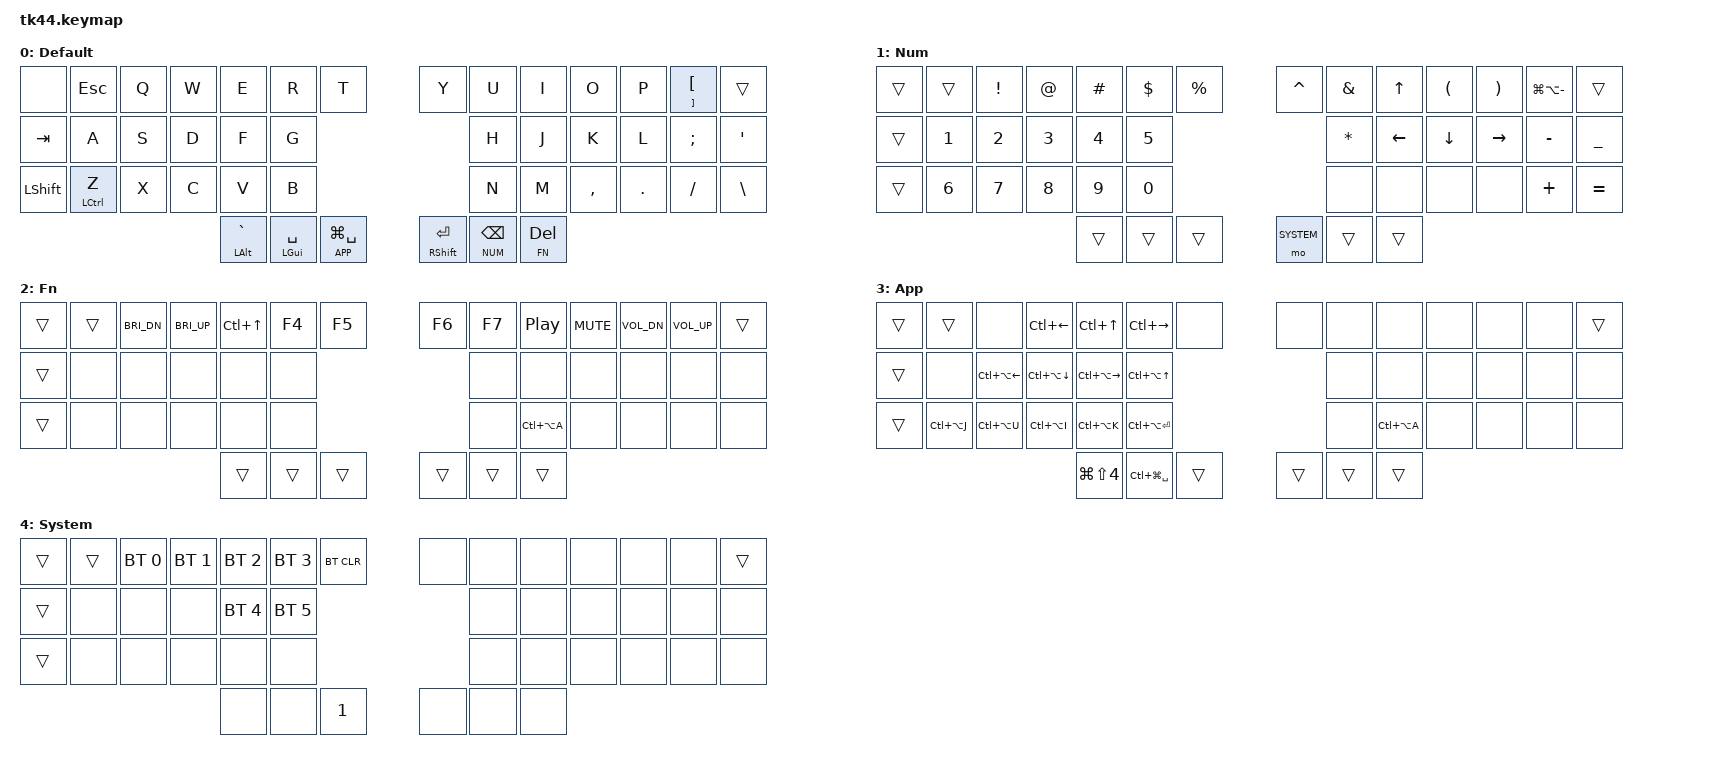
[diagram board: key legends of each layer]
/*
* Copyright (c) 2020 The ZMK Contributors
*
* SPDX-License-Identifier: MIT
*/

#include <behaviors.dtsi>
#include <dt-bindings/zmk/keys.h>
#include <dt-bindings/zmk/bt.h>
#include <dt-bindings/zmk/outputs.h>

#define DEFAULT 0
#define NUM     1
#define FN      2
#define APP     3
#define SYSTEM  4

&lt { quick-tap-ms = <200>; };
&mt { quick-tap-ms = <200>; };

/ {

  behaviors {

    hm: homerow_mods {
      compatible = "zmk,behavior-hold-tap";
      label = "HOMEROW_MODS";
      #binding-cells = <2>;
      tapping_term_ms = <300>;
      quick-tap-ms = <300>;
      flavor = "tap-preferred";
      bindings = <&kp>, <&kp>;
    };

    hmt: homerow_mods_no_quicktap {
      compatible = "zmk,behavior-hold-tap";
      label = "HOMEROW_MODS";
      #binding-cells = <2>;
      tapping_term_ms = <200>;
      quick-tap-ms = <200>;
      flavor = "balanced";
      bindings = <&kp>, <&kp>;
    };

    ltp: layer_tap_prefered {
      compatible = "zmk,behavior-hold-tap";
      label = "LAYER_TAP_PREFERED";
      #binding-cells = <2>;
      tapping_term_ms = <200>;
      quick-tap-ms = <200>;
      flavor = "balanced";
      bindings = <&mo>, <&kp>;
    };

    lhp: layer_hold_prefered {
      compatible = "zmk,behavior-hold-tap";
      label = "LAYER_HOLD_PREFERED";
      #binding-cells = <2>;
      tapping_term_ms = <250>;
      flavor = "hold-preferred";
      bindings = <&mo>, <&kp>;
    };
  };

  keymap {
    compatible = "zmk,keymap";

    default_layer {
      label = "Default";
      bindings = <

      &none   &kp ESC        &kp Q &kp W &kp E &kp R &kp T             &kp Y &kp U &kp I &kp O &kp P           &mt RBKT LBKT    &trans
              &kp TAB   &kp A &kp S &kp D &kp F &kp G             &kp H &kp J &kp K &kp L &kp SEMI        &kp APOS
              &kp LSHFT &hm LCTRL Z &kp X &kp C &kp V &kp B             &kp N &kp M &kp COMMA &kp DOT &kp FSLH  &kp BSLH
              &hm LALT GRAVE &hm LGUI SPACE &ltp APP LG(SPACE)         &hm RSHFT ENTER &lhp NUM BSPC &ltp FN DEL
        >;
    };
  
    num_layer {
      label="Num";
      bindings = <

        &trans  &trans     &kp EXCL &kp AT &kp HASH &kp DLLR &kp PERCENT    &kp CARET &kp AMPS  &kp UP    &kp LPAR  &kp RPAR  &kp LG(LA(MINUS))   &trans
                &trans     &kp N1 &kp N2 &kp N3 &kp N4 &kp N5               &kp STAR  &kp LEFT  &kp DOWN  &kp RIGHT &kp MINUS &kp UNDER 
                &trans     &kp N6 &kp N7 &kp N8 &kp N9 &kp N0               &none     &none     &none     &none     &kp PLUS  &kp EQUAL 
                &trans &trans &trans                                        &mo SYSTEM &trans &trans

      >;
    };

    fn_layer {
      label = "Fn";
      bindings = <

        &trans  &trans  &kp C_BRI_DN  &kp C_BRI_UP  &kp LC(UP)  &kp F4  &kp F5        &kp F6  &kp F7          &kp C_PP  &kp C_MUTE  &kp C_VOL_DN  &kp C_VOL_UP    &trans
                &trans  &none         &none         &none       &none   &none         &none   &none           &none     &none       &none         &none
                &trans  &none         &none         &none       &none   &none         &none   &kp LC(LA(A))   &none     &none       &none         &none
                                            &trans      &trans  &trans        &trans  &trans          &trans  

      >;
    };

    app_layer {
      label = "App";
      bindings = <  
      
      &trans  &trans  &none              &kp LC(LEFT)         &kp LC(UP)              &kp LC(RIGHT)            &none                      &none   &none           &none     &none       &none         &none   &trans
              &trans  &none              &kp LC(LA(LEFT))     &kp LC(LA(DOWN))        &kp LC(LA(RIGHT))        &kp LC(LA(UP))             &none   &none           &none     &none       &none         &none
              &trans  &kp LC(LA(J))      &kp LC(LA(U))        &kp LC(LA(I))           &kp LC(LA(K))            &kp LC(LA(ENTER))          &none   &kp LC(LA(A))   &none     &none       &none         &none
              &kp LG(LS(N4))             &kp LC(LG(SPACE))    &trans                                                                      &trans  &trans          &trans
      >;
    };

    system_layer {

      label = "System";
      bindings = <
  
      &trans  &trans  &bt BT_SEL 0      &bt BT_SEL 1   &bt BT_SEL 2    &bt BT_SEL 3    &bt BT_CLR           &none        &none        &none        &none        &none   &none   &trans
              &trans  &none             &none          &none           &bt BT_SEL 4    &bt BT_SEL 5         &none        &none        &none        &none        &none   &none
              &trans  &none             &none          &none           &none           &none                &none        &none        &none        &none        &none   &none
                                        &none          &none           &kp N1                               &none        &none        &none
      >;
    };
  };
};
